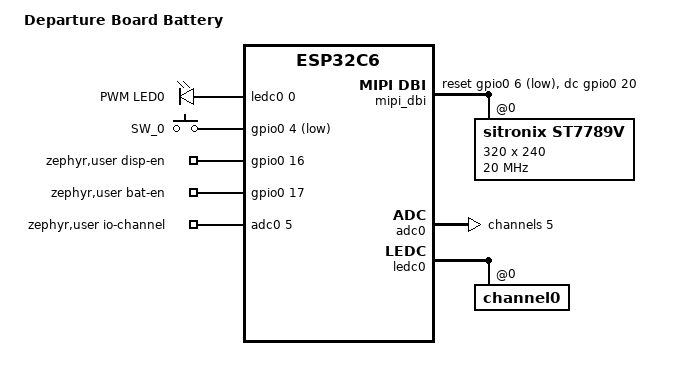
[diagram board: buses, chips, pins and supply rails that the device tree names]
#include "../common/beetle_esp32c6_hpcore.dtsi"
#include <zephyr/dt-bindings/mipi_dbi/mipi_dbi.h>
#include <zephyr/dt-bindings/display/panel.h>
#include <zephyr/dt-bindings/pwm/pwm.h>

/ {
	model = "Departure Board Battery";
	compatible = "departure-board-bat";

	chosen {
		zephyr,display = &st7789v;
	};

	aliases {
		ledbacklight = &leddisp;
		sw0 = &user_btn;
		adc = &adc0;
	};

	mipi_dbi {
		compatible = "zephyr,mipi-dbi-spi";
		#address-cells = <1>;
		#size-cells = <0>;
		spi-dev = <&spi2>;
		dc-gpios = <&gpio0 20 GPIO_ACTIVE_HIGH>;
		reset-gpios = <&gpio0 6 GPIO_ACTIVE_LOW>;
		write-only;

		st7789v: st7789v@0 {
			compatible = "sitronix,st7789v";
			mipi-max-frequency = <20000000>;
			reg = <0>;
			width = <320>;
			height = <240>;
			x-offset = <0>;
			y-offset = <0>;
			vcom = <0x19>;
			gctrl = <0x35>;
			vrhs = <0x12>;
			vdvs = <0x20>;
			/* MADCTL. D6/D5/D4 set the landscape orientation; D3 is the RGB/BGR
			 * order bit and stays clear, so the panel reads pixels as plain RGB
			 * and colours can be written the way they are published.
			 */
			mdac = <0x70>;
			gamma = <0x01>;
			pixel-format = <PANEL_PIXEL_FORMAT_RGB_565>;
			lcm = <0x2c>;
			porch-param = [0c 0c 00 33 33];
			cmd2en-param = [5a 69 02 01];
			pwctrl1-param = [a4 a1];
			pvgam-param = [D0 05 0A 09 08 05 2E 44 45 0F 17 16 2B 33];
			nvgam-param = [D0 05 0A 09 08 05 2E 43 45 0F 16 16 2B 33];
			ram-param = [00 f0];
			rgb-param = [cd 08 14];
			mipi-mode = "MIPI_DBI_MODE_SPI_4WIRE";
			status = "okay";
		};
	};

	pwmleds {
		compatible = "pwm-leds";

		leddisp: pwm_led_gpio0_19 {
			label = "PWM LED0";
			pwms = <&ledc0 0 PWM_HZ(1000) PWM_POLARITY_NORMAL>;
		};
	};

	gpio_keys {
		compatible = "gpio-keys";

		user_btn: button_0 {
			label = "SW_0";
			gpios = <&gpio0 4 (GPIO_PULL_UP | GPIO_ACTIVE_LOW)>;
			zephyr,code = <INPUT_KEY_0>;
		};
	};

	longpress {
		compatible = "zephyr,input-longpress";
		input-codes = <INPUT_KEY_0>;
		short-codes = <INPUT_KEY_S>;
		long-codes = <INPUT_KEY_L>;
		long-delay-ms = <4000>;
	};

	zephyr,user {
		/* ADC1 channel 5 is GPIO5, where the battery divider lands. */
		io-channels = <&adc0 5>;
		/* Battery divider: high side from the battery to the ADC pin, low side to GND. */
		vbatt-high-side-ohms = <220000>;
		vbatt-low-side-ohms = <220000>;
		disp-en-gpios = <&gpio0 16 GPIO_ACTIVE_HIGH>;
		bat-en-gpios = <&gpio0 17 GPIO_ACTIVE_HIGH>;
	};
};

&adc0 {
	#address-cells = <1>;
	#size-cells = <0>;
	status = "okay";

	channel@5 {
		reg = <5>;
		zephyr,gain = "ADC_GAIN_1_4";
		zephyr,reference = "ADC_REF_INTERNAL";
		zephyr,acquisition-time = <ADC_ACQ_TIME_DEFAULT>;
		zephyr,resolution = <12>;
	};
};

&ledc0 {
	pinctrl-0 = <&ledc0_default>;
	pinctrl-names = "default";
	status = "okay";
	#address-cells = <1>;
	#size-cells = <0>;

	channel0@0 {
		reg = <0x0>;
		timer = <0>;
	};
};
